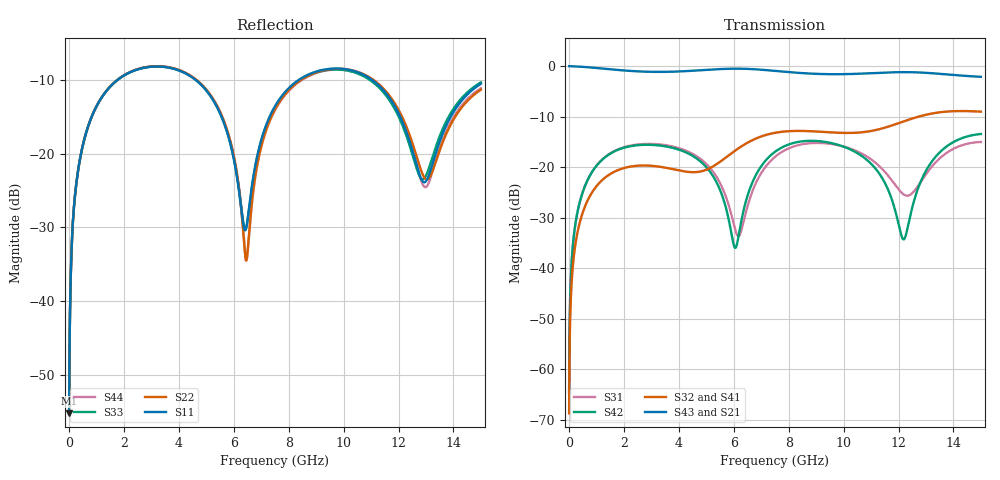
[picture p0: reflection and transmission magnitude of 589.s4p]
! Created with skrf 1.8.0 (http://scikit-rf.org).
# GHz S RI R 50.0
!freq ReS11 ImS11 ReS12 ImS12 ReS13 ImS13
! ReS14 ImS14
! ReS21 ImS21 ReS22 ImS22 ReS23 ImS23
! ReS24 ImS24
! ReS31 ImS31 ReS32 ImS32 ReS33 ImS33
! ReS34 ImS34
! ReS41 ImS41 ReS42 ImS42 ReS43 ImS43
! ReS44 ImS44
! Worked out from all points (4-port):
!   2499 points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, 5 MHz to 15 GHz, reference 50 ohm
!   strongest paths, dB at 5 MHz, 3.476 GHz, 7.19 GHz, 11.1 GHz, 15 GHz:
!     S43: 0.0, -1.1, -0.8, -1.4, -2.1
!     S21: 0.0, -1.1, -0.8, -1.4, -2.1
!     S32: -68.7, -20.1, -13.6, -12.7, -9.0
!     S41: -68.7, -20.1, -13.6, -12.8, -9.0
!     S42: -64.6, -15.8, -18.5, -19.9, -13.4
!     S31: -64.6, -15.6, -19.7, -18.8, -15.0
!   lowest |S11| = -55.2 dB at 5 MHz (marker M1), VSWR 1.00, Z = 50.1 + j0.106 ohm
!   |S11| at or under -10 dB: start of sweep to 1.783 GHz; 4.599 GHz to 8.384 GHz (3.784 GHz wide, 58.3 % of centre); 11.02 GHz to end of sweep
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0.005  0.00139 0.00105  0.9986 -0.00271  7.04e-05 0.000585  -6.82e-05 -0.000361
       0.9986 -0.00271  0.00139 0.00105  -6.82e-05 -0.000361  7.04e-05 0.000585
       7.04e-05 0.000585  -6.82e-05 -0.000361  0.00139 0.00105  0.9986 -0.00271
       -6.82e-05 -0.000361  7.04e-05 0.000585  0.9986 -0.00271  0.00139 0.00105
0.3626511  0.0228 0.0803  0.9685 -0.1956  0.0114 0.0403  -0.00925 -0.0247
           0.9685 -0.1956  0.0229 0.0803  -0.00925 -0.0247  0.011 0.0404
           0.0114 0.0403  -0.00925 -0.0247  0.0228 0.0803  0.9685 -0.1956
           -0.00925 -0.0247  0.011 0.0404  0.9685 -0.1956  0.0229 0.0803
1.619545  0.2318 0.1875  0.6245 -0.6809  0.123 0.073  -0.0873 -0.0186
          0.6245 -0.6809  0.2332 0.1867  -0.0874 -0.0185  0.1184 0.0781
          0.123 0.073  -0.0874 -0.0185  0.2318 0.1875  0.6245 -0.6809
          -0.0873 -0.0186  0.1184 0.0781  0.6245 -0.6809  0.2332 0.1867
6.471446  0.0308 0.0109  -0.9376 -0.0535  -0.0112 0.0366  -0.00537 0.1728
          -0.9376 -0.0535  0.019 0.00321  -0.00426 0.1729  0.0259 0.0417
          -0.0112 0.0366  -0.00426 0.1729  0.031 0.00899  -0.9375 -0.0543
          -0.00537 0.1728  0.0259 0.0417  -0.9375 -0.0543  0.019 0.00136
10.47311  0.3427 -0.0995  0.173 0.8183  0.0923 -0.111  0.1975 -0.0934
          0.173 0.8183  0.3464 -0.0937  0.197 -0.0964  0.0979 -0.099
          0.0923 -0.111  0.197 -0.0964  0.3365 -0.0954  0.1745 0.8206
          0.1975 -0.0934  0.0979 -0.099  0.1745 0.8206  0.3395 -0.0954
12.18633  0.1054 -0.116  0.7466 0.4466  -0.0505 -0.0185  0.1422 -0.2458
          0.7466 0.4466  0.113 -0.1247  0.138 -0.2479  -0.0193 -0.000529
          -0.0505 -0.0185  0.138 -0.2479  0.1043 -0.1053  0.7499 0.4444
          0.1422 -0.2458  -0.0193 -0.000529  0.7499 0.4444  0.103 -0.119
15  0.2705 0.1208  0.5368 -0.5737  0.1749 0.0302  -0.2974 -0.1928
    0.5368 -0.5737  0.2468 0.1105  -0.3001 -0.1883  0.213 -0.00723
    0.1749 0.0302  -0.3001 -0.1883  0.2774 0.122  0.534 -0.5734
    -0.2974 -0.1928  0.213 -0.00723  0.534 -0.5734  0.2503 0.1175
